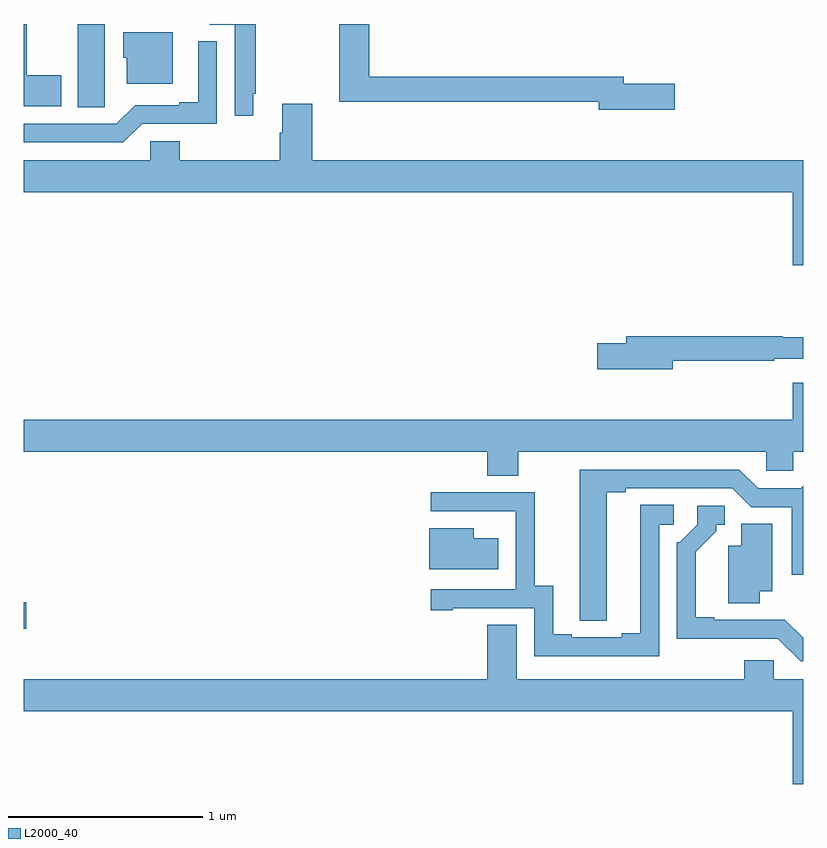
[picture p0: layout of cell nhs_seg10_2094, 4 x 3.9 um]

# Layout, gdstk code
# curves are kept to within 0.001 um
import gdstk
lib = gdstk.Library(unit=1e-6, precision=1e-09)
def R(c, l, rs):  # rectangles x0, y0, x1, y1
    for r in rs: c.add(gdstk.rectangle(r[:2], r[2:], *l))
def P(c, l, *ps):  # polygons
    for p in ps: c.add(gdstk.Polygon(p, *l))
L2000_40 = (2000, 40)

nhs_seg10_2094 = lib.new_cell('nhs_seg10_2094')
R(nhs_seg10_2094, L2000_40, [(221,1311.395,221.011,1311.53)])
P(nhs_seg10_2094, L2000_40, [(221.191,1314.237),(221.014,1314.237),(221.014,1314.5),(221,1314.5),(221,1314.077),(221.191,1314.077)],
  [(222.178,1314.142),(222.19,1314.142),(222.19,1314.5),(221.954,1314.5),(221.954,1314.497),(222.081,1314.497),(222.081,1314.03),(222.178,1314.03)],
  [(221.415,1314.184),(221.416,1314.184),(221.416,1314.5),(221.276,1314.5),(221.276,1314.073),(221.415,1314.073)],
  [(224.341,1314.194),(224.08,1314.194),(224.08,1314.23),(222.773,1314.23),(222.773,1314.5),(222.619,1314.5),(222.619,1314.102),(223.952,1314.102),(223.952,1314.059),(224.341,1314.059)],
  [(221.764,1314.457),(221.51,1314.457),(221.51,1314.327),(221.528,1314.327),(221.528,1314.194),(221.764,1314.194)],
  [(221.607,1313.988),(221.991,1313.988),(221.991,1314.412),(221.894,1314.412),(221.894,1314.097),(221.798,1314.097),(221.798,1314.084),(221.571,1314.084),(221.475,1313.988),(221,1313.988),(221,1313.892),(221.511,1313.892)],
  [(225,1313.8),(222.479,1313.8),(222.479,1314.091),(222.326,1314.091),(222.326,1313.942),(222.314,1313.942),(222.314,1313.8),(221.801,1313.8),(221.801,1313.898),(221.649,1313.898),(221.649,1313.8),(221,1313.8),(221,1313.636),(224.948,1313.636),(224.948,1313.262),(225,1313.262)],
  [(224.332,1312.77),(224.852,1312.77),(224.852,1312.782),(225,1312.782),(225,1312.891),(224.897,1312.891),(224.897,1312.898),(224.093,1312.898),(224.093,1312.862),(223.944,1312.862),(223.944,1312.727),(224.332,1312.727)],
  [(223.539,1312.304),(224.811,1312.304),(224.811,1312.206),(224.949,1312.206),(224.949,1312.304),(225,1312.304),(225,1312.657),(224.948,1312.657),(224.948,1312.468),(221,1312.468),(221,1312.304),(223.379,1312.304),(223.379,1312.18),(223.539,1312.18)],
  [(223.993,1312.096),(224.089,1312.096),(224.089,1312.116),(224.637,1312.116),(224.733,1312.02),(224.943,1312.02),(224.943,1311.672),(225,1311.672),(225,1312.129),(224.987,1312.116),(224.769,1312.116),(224.673,1312.212),(223.853,1312.212),(223.854,1311.436),(223.993,1311.436)],
  [(224.262,1311.93),(224.335,1311.93),(224.335,1312.031),(224.165,1312.031),(224.165,1311.371),(224.069,1311.371),(224.069,1311.351),(223.813,1311.351),(223.813,1311.366),(223.717,1311.366),(223.717,1311.617),(223.623,1311.617),(223.623,1312.095),(223.089,1312.095),(223.089,1311.999),(223.523,1311.999),(223.523,1311.998),(223.524,1311.998),(223.524,1311.597),(223.089,1311.597),(223.089,1311.489),(223.201,1311.489),(223.201,1311.501),(223.62,1311.501),(223.62,1311.255),(224.262,1311.255)],
  [(225,1311.348),(224.906,1311.442),(224.545,1311.441),(224.545,1311.454),(224.449,1311.454),(224.449,1311.79),(224.554,1311.895),(224.554,1311.93),(224.599,1311.93),(224.599,1312.026),(224.457,1312.026),(224.457,1311.93),(224.367,1311.84),(224.352,1311.84),(224.352,1311.344),(224.871,1311.345),(224.988,1311.228),(225,1311.228)],
  [(224.779,1311.587),(224.842,1311.587),(224.842,1311.935),(224.684,1311.935),(224.684,1311.82),(224.615,1311.82),(224.615,1311.526),(224.779,1311.526)],
  [(223.435,1311.859),(223.309,1311.859),(223.309,1311.91),(223.082,1311.91),(223.082,1311.701),(223.435,1311.701)],
  [(225,1311.136),(224.85,1311.136),(224.85,1311.234),(224.699,1311.234),(224.699,1311.136),(223.531,1311.136),(223.531,1311.416),(223.379,1311.416),(223.379,1311.136),(221,1311.136),(221,1310.972),(224.948,1310.972),(224.948,1310.598),(225,1310.598)])

lib.write_gds('nhs_seg10_2094.gds')
